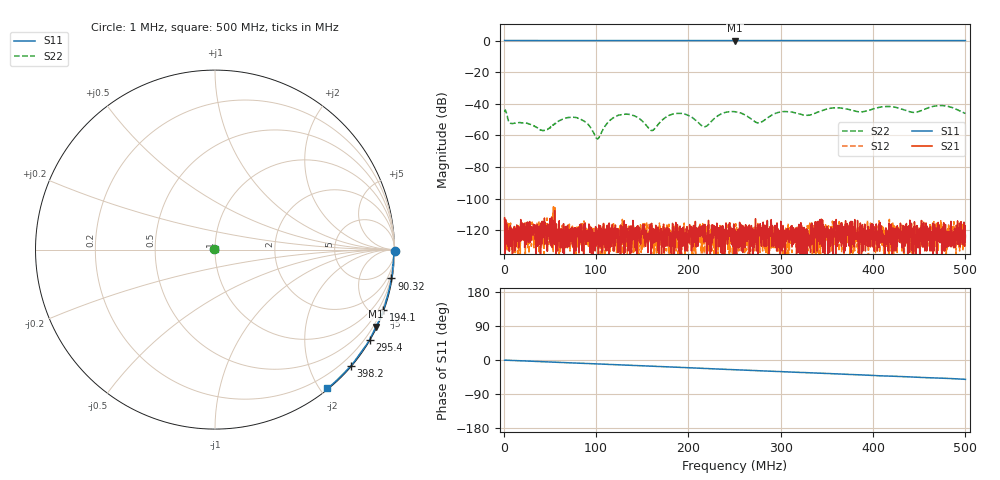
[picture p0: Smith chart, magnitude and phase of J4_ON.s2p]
! MS46122B
! 1746301/73750021
! 8/7/2023 3:03:02 PM
! C:\USERS\SPEGWAL\DOWNLOADS\SAURABH\REACH\NODES\FRONT END\MEASUREMENTS\MEASURED S-PARAMETER_07-08-2023\MS-3\P2_J1\J4_ON.S2P
! CHANNEL.1
! TR.MEASUREMENT
! CORRECTED.DATA
# GHZ S RI R 50.0
! FREQ.GHZ  S11RE  S11IM  S21RE  S21IM  S12RE  S12IM  S22RE  S22IM
!; PortSelection: Port_12
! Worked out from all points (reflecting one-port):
!   2001 points, 1 MHz to 500 MHz, reference 50 ohm
!   lowest |S11| = -0.1 dB at 250.5 MHz (marker M1), VSWR 340.01, Z = 2.99 - j220 ohm
!   phase of S11 starts at -1 deg and turns -51 deg over the sweep
!   S11 on the Smith chart (normalised r, x): 1 MHz: open; 90.32 MHz: 0, -12; 194.1 MHz: 0.06, -5.75; 295.4 MHz: 0.02, -3.71; 398.2 MHz: 0.01, -2.70; 500 MHz: 0.01, -2.09
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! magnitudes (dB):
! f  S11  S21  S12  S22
! 1 MHz  0.0  -111.9  -112.0  -45.1
! 7.986 MHz  0.0  -130.0  -126.0  -52.4
! 42.17 MHz  0.0  -119.0  -127.7  -56.9
! 67.37 MHz  0.0  -117.7  -121.4  -49.0
! 84.33 MHz  0.0  -116.8  -122.8  -50.1
! 90.32 MHz  0.0  -121.0  -127.4  -52.4
! 101.5 MHz  0.0  -123.5  -120.7  -62.1
! 126 MHz  0.0  -133.0  -116.3  -47.0
! 143.2 MHz  0.0  -118.3  -117.6  -48.1
! 159.9 MHz  0.0  -125.9  -119.4  -56.9
! 167.4 MHz  0.0  -125.9  -121.9  -52.9
! 194.1 MHz  0.0  -130.0  -120.5  -46.2
! 217.6 MHz  0.0  -124.7  -137.0  -54.6
! 250.5 MHz  -0.1  -133.0  -120.7  -45.0
! 275.7 MHz  0.0  -120.1  -122.4  -52.1
! 295.4 MHz  0.0  -121.9  -119.6  -45.7
! 333.8 MHz  0.0  -128.9  -121.4  -46.8
! 398.2 MHz  0.0  -125.4  -116.6  -43.7
! 416.9 MHz  0.0  -123.0  -137.0  -41.7
! 444.4 MHz  0.0  -122.8  -125.4  -45.5
! 476.8 MHz  0.0  -120.9  -128.9  -41.2
! 500 MHz  0.0  -123.1  -124.3  -46.1
